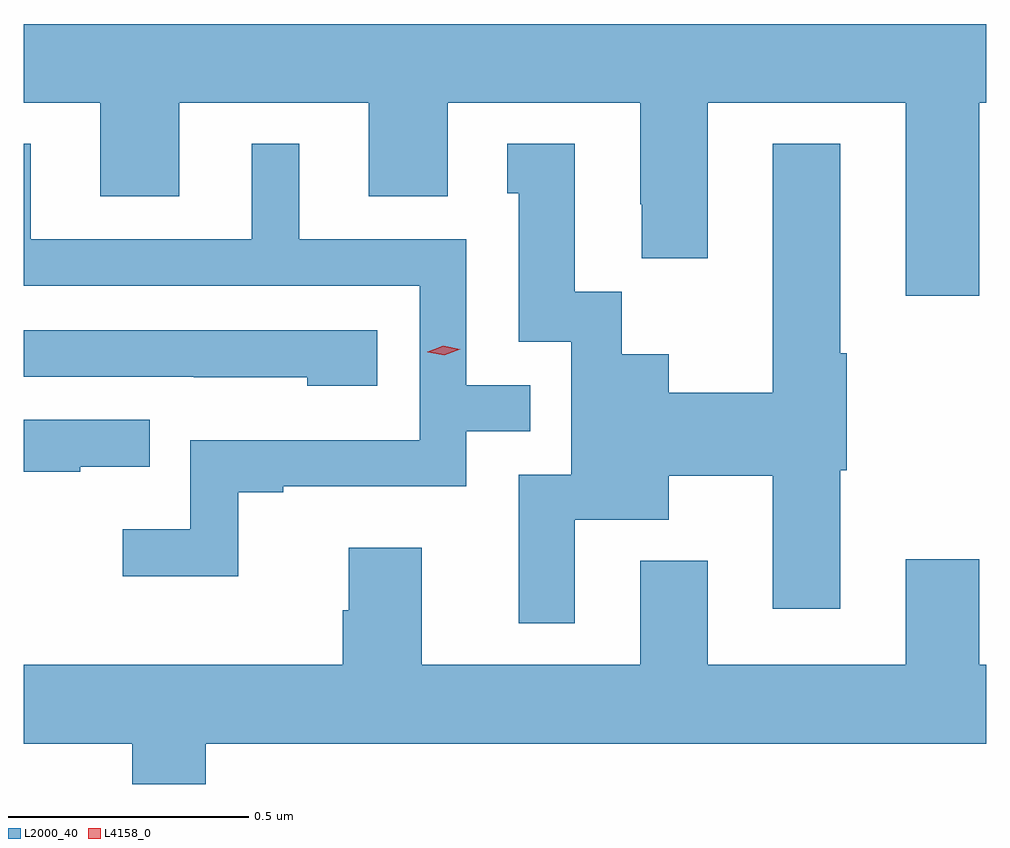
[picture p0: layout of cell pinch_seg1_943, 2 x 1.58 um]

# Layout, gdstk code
import gdstk
lib = gdstk.Library(unit=1e-6, precision=1e-09)
def P(c, l, *ps):  # polygons
    for p in ps: c.add(gdstk.Polygon(p, *l))
L2000_40 = (2000, 40)
L4158_0 = (4158, 0)

pinch_seg1_943 = lib.new_cell('pinch_seg1_943')
P(pinch_seg1_943, L2000_40, [(340.418,530.42),(340.432,530.42),(340.432,530.584),(338.432,530.584),(338.432,530.42),(338.591,530.42),(338.591,530.226),(338.755,530.226),(338.755,530.42),(339.149,530.42),(339.149,530.226),(339.313,530.226),(339.313,530.42),(339.713,530.42),(339.713,530.209),(339.716,530.209),(339.716,530.097),(339.853,530.097),(339.853,530.42),(340.265,530.42),(340.265,530.019),(340.418,530.019)],
  [(339.577,529.553),(339.772,529.553),(339.772,529.645),(339.989,529.645),(339.989,529.368),(340.129,529.368),(340.129,529.656),(340.142,529.656),(340.142,529.9),(340.129,529.9),(340.129,530.335),(339.989,530.335),(339.989,529.817),(339.772,529.817),(339.772,529.897),(339.675,529.897),(339.675,530.027),(339.577,530.027),(339.577,530.335),(339.437,530.335),(339.437,530.232),(339.461,530.232),(339.461,529.923),(339.57,529.923),(339.57,529.647),(339.461,529.647),(339.461,529.338),(339.577,529.338)],
  [(338.877,529.611),(338.971,529.611),(338.971,529.623),(339.351,529.623),(339.351,529.737),(339.484,529.737),(339.484,529.833),(339.351,529.833),(339.351,530.136),(339.004,530.136),(339.004,530.335),(338.906,530.335),(338.906,530.136),(338.446,530.136),(338.446,530.335),(338.432,530.335),(338.432,530.04),(339.255,530.04),(339.255,529.719),(338.778,529.719),(338.778,529.534),(338.637,529.534),(338.637,529.436),(338.877,529.436)],
  [(339.166,529.947),(338.432,529.947),(338.432,529.851),(338.785,529.851),(338.785,529.85),(339.021,529.85),(339.021,529.832),(339.166,529.832)],
  [(338.549,529.664),(338.693,529.664),(338.693,529.761),(338.432,529.761),(338.432,529.653),(338.549,529.653)],
  [(338.81,529.088),(340.432,529.088),(340.432,529.252),(340.418,529.252),(340.418,529.471),(340.265,529.471),(340.265,529.252),(339.853,529.252),(339.853,529.468),(339.713,529.468),(339.713,529.252),(339.259,529.252),(339.259,529.495),(339.107,529.495),(339.107,529.365),(339.095,529.365),(339.095,529.252),(338.432,529.252),(338.432,529.088),(338.657,529.088),(338.657,529.004),(338.81,529.004)])
P(pinch_seg1_943, L4158_0, [(339.306,529.895),(339.271,529.902),(339.27,529.903),(339.271,529.903),(339.304,529.915),(339.339,529.908),(339.339,529.908),(339.339,529.908)])

lib.write_gds('pinch_seg1_943.gds')
